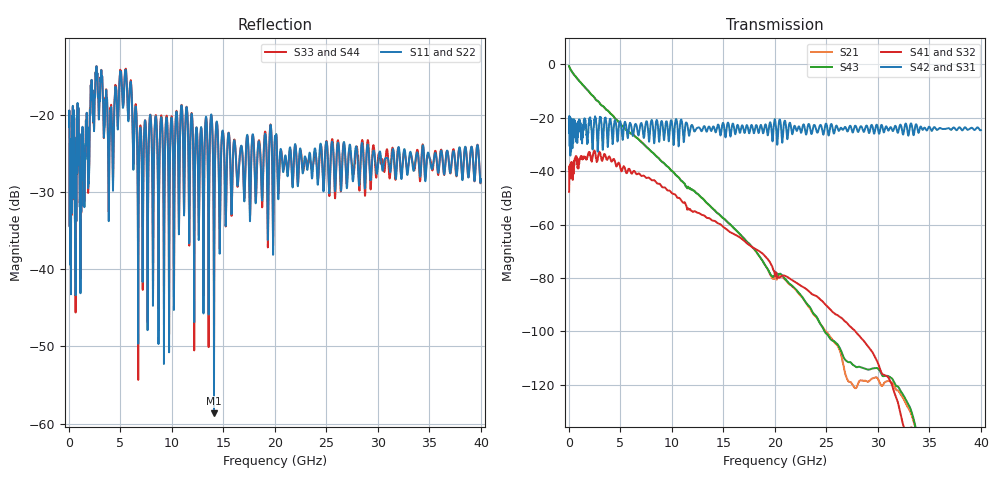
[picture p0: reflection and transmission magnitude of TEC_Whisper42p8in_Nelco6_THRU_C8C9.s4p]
! Tyco Electronics Strada Whisper System
! THRU_C8C9
!! SYSTEM DESCRIPTION: Daughtercard-Connector-Backplane-Connector-Daughtercard
!! PCB DESCRIPTION: BP: 250mil, 26 lyrs, Nelco4000-6, bottom layer route, no stub, 6-9-6mil 30" traces; DC: 150mil, 16 lyrs, Nelco4000-6, bottom layer route, no stub, 6-9-6mil 5" traces
!! CONNECTOR DESCRIPTION: STRADA Whisper, Right Angle Receptacle to Vertical Header
!! MODEL DESCRIPTION: Tyco Electronics System 4-port S-parameter
!! MODEL STATUS: Developmental
!! MODEL GEOMETRY: Channel Model
!! MODEL FREQUENCY RANGE: DC to 40 GHz in 10 MHz frequency steps
!! MODEL EDGE RATE LIMITATION: 12.5 ps (Using conservative 0.5/Fmax rule of thumb)
!! TIME-DOMAIN TRANSFORM CAUTIONS:
!! 1.) Do not simulate transient edge rates faster than the number listed above.  Edge rates faster than this number
!!  contain significant spectral content at frequencies above the model's highest frequency.
!! 2.) Even when simulating edge rates that are slower than the number listed above, be aware that the best time
!!  resolution possible with a direct iFFT is (1 / 2Fmax).  As a result, time resolution is typically not adequate
!!  for most time-domain simulations unless tricks such as windowing are used to minimize leakage and aliasing.
!! 3.) Because the model has a uniform frequency step, a direct iFFT will result in an impulse that that has a time
!!  length given by either (1 / Fstep) or (1 / 2Fstep), depending on the transform being used.  Care has been taken
!!  in selecting the frequency step to ensure a settled impulse response for the model.  Therefore, convolution with
!!  the model's impulse response should present no issues.  However, if directly concatenating s-parameter models
!!  in the frequency domain a user must either interpolate necessary interim frequencies or complete impulse response
!!  zero-padding.  Impulse response zero-padding is more difficult, but more accurate.
!! PORT DEFINITIONS:
!! Port  1  ----->  Side A  C8  Side B  <-----  Port  2
!! Port  3  ----->  Side A  C9  Side B  <-----  Port  4
! Created Wed Apr 27 14:57:46 2011
# hz S ma R 50
! 4 Port Network Data from SP1.SP block
! freq  magS11  angS11  magS12  angS12  magS13  angS13  magS14  angS14
!  magS21  angS21  magS22  angS22  magS23  angS23  magS24  angS24
!  magS31  angS31  magS32  angS32  magS33  angS33  magS34  angS34
!  magS41  angS41  magS42  angS42  magS43  angS43  magS44  angS44
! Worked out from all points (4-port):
!   4000 points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, 10 MHz to 40 GHz, reference 50 ohm
!   strongest paths, dB at 10 MHz, 10.01 GHz, 20.01 GHz, 30.01 GHz, 40 GHz:
!     S42: -25.6, -22.1, -20.8, -24.2, -24.6
!     S31: -25.6, -22.1, -20.8, -24.2, -24.6
!     S41: -47.7, -48.3, -79.2, -112.0, -174.3
!     S32: -47.7, -48.3, -79.2, -112.0, -174.3
!     S43: -0.7, -40.0, -78.4, -114.0, -174.4
!     S21: -0.7, -40.0, -79.1, -117.8, -174.4
!   lowest |S11| = -58.7 dB at 14.08 GHz (marker M1), VSWR 1.00, Z = 50 - j0.109 ohm
!   |S11| at or under -10 dB: start of sweep to end of sweep
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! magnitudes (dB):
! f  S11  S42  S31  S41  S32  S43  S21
! 10 MHz  -21.5  -25.6  -25.6  -47.7  -47.7  -0.7  -0.7
! 660 MHz  -29.6  -26.7  -26.7  -34.5  -34.5  -4.7  -4.7
! 2.66 GHz  -13.7  -22.6  -22.6  -35.7  -35.7  -13.5  -13.5
! 3.5 GHz  -19.4  -20.3  -20.3  -33.8  -33.8  -16.5  -16.5
! 14.08 GHz  -58.7  -23.5  -23.5  -58.6  -58.6  -54.4  -54.4
! 19.79 GHz  -33.3  -28.1  -28.1  -76.4  -76.4  -79.6  -80.3
! 40 GHz  -28.3  -24.6  -24.6  -174.3  -174.3  -174.4  -174.4
